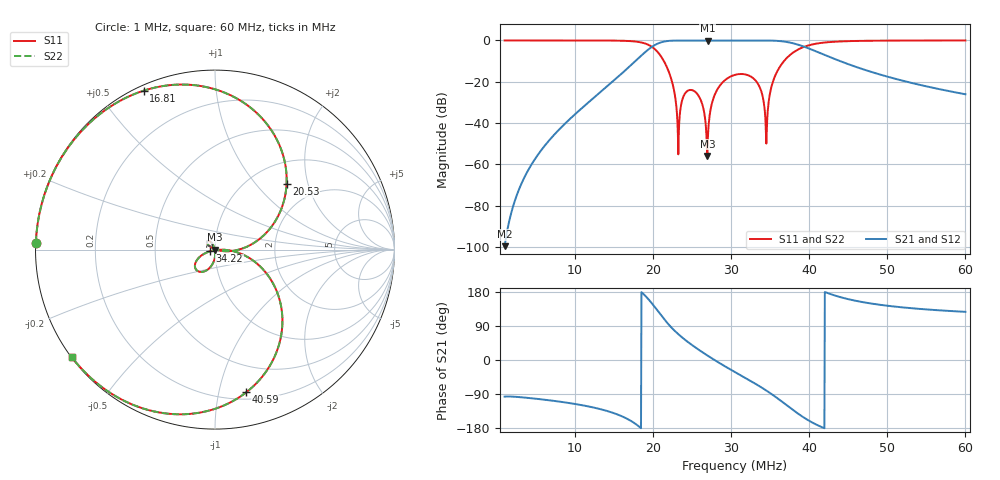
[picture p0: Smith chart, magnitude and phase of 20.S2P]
! 2-port S-parameter file Version 2.0 by Elsie 19/04/2023 08:47:41
[Version] 2.0
# MHz S DB R 50
[Number of Ports] 2
[Two-Port Data Order] 21_12
! Fstart: 1  Fstop: 60
[Reference]  50 50
! Freq:  S11 mag:  S11 angle:  S21 mag:  S21 angle:  S12 mag:  S12 angle:  S22 mag:  S22 angle:
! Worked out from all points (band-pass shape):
!   1001 points, 1 MHz to 60 MHz, reference 50 ohm
!   highest |S21| = -0.05 dB at 27.02 MHz (marker M1); lowest = -99.5 dB at 1 MHz (marker M2)
!   |S21| within 3 dB of the highest: 19.89 MHz to 39.36 MHz (19.48 MHz wide, 65.7 % of centre)
!   lowest |S11| = -55.9 dB at 26.96 MHz (marker M3), VSWR 1.00, Z = 49.9 - j0.11 ohm
!   |S11| at or under -10 dB: 21.4 MHz to 36.77 MHz (15.38 MHz wide, 52.9 % of centre)
!   |S22| runs from -55.9 to 0.0 dB; largest |S21 - S12| = 0
!   S11 on the Smith chart (normalised r, x): 1 MHz: 0.00, +0.02; 16.81 MHz: 0.02, +0.65; 20.53 MHz: 1.42, +1.48; 34.22 MHz: 0.95, -0.02; 40.59 MHz: 0.26, -1.21; 60 MHz: 0.00, -0.33
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[Number of Frequencies] 22
[Network Data]
1  -0.01 177.8  -99.55 -96.6  -99.55 -96.6  -0.01 177.8
10.853  -0.02 151.5  -32.89 -119.0  -32.89 -119.0  -0.02 151.5
16.812  -0.26 114.1  -13.23 -156.5  -13.23 -156.5  -0.26 114.1
20.529  -5.32 42.6  -1.66 131.7  -1.66 131.7  -5.32 42.6
20.706  -6.09 37.9  -1.36 126.9  -1.36 126.9  -6.09 37.9
22.299  -18.20 -1.2  -0.15 87.0  -0.15 87.0  -18.20 -1.2
23.184  -45.13 -1.3  -0.07 69.2  -0.07 69.2  -45.13 -1.3
25.072  -24.13 128.9  -0.07 38.3  -0.07 38.3  -24.13 128.9
26.134  -29.02 115.1  -0.06 23.2  -0.06 23.2  -29.02 115.1
26.96  -55.94 -136.5  -0.05 12.0  -0.05 12.0  -55.94 -136.5
27.019  -48.07 -99.0  -0.05 11.2  -0.05 11.2  -48.07 -99.0
28.081  -24.84 -93.9  -0.07 -2.6  -0.07 -2.6  -24.84 -93.9
30.5  -16.65 -122.1  -0.14 -32.0  -0.14 -32.0  -16.65 -122.1
33.155  -19.49 -152.2  -0.10 -63.2  -0.10 -63.2  -19.49 -152.2
34.217  -30.80 -160.9  -0.06 -76.7  -0.06 -76.7  -30.80 -160.9
34.63  -37.75 -7.0  -0.06 -82.2  -0.06 -82.2  -37.75 -7.0
35.279  -20.90 -3.9  -0.10 -91.3  -0.10 -91.3  -20.90 -3.9
36.577  -10.92 -21.9  -0.44 -110.8  -0.44 -110.8  -10.92 -21.9
40.353  -1.98 -75.0  -4.49 -164.6  -4.49 -164.6  -1.98 -75.0
40.589  -1.79 -77.6  -4.85 -167.1  -4.85 -167.1  -1.79 -77.6
50.206  -0.08 -127.5  -17.73 142.7  -17.73 142.7  -0.08 -127.5
60  -0.02 -143.1  -26.04 127.1  -26.04 127.1  -0.02 -143.1
[End]
